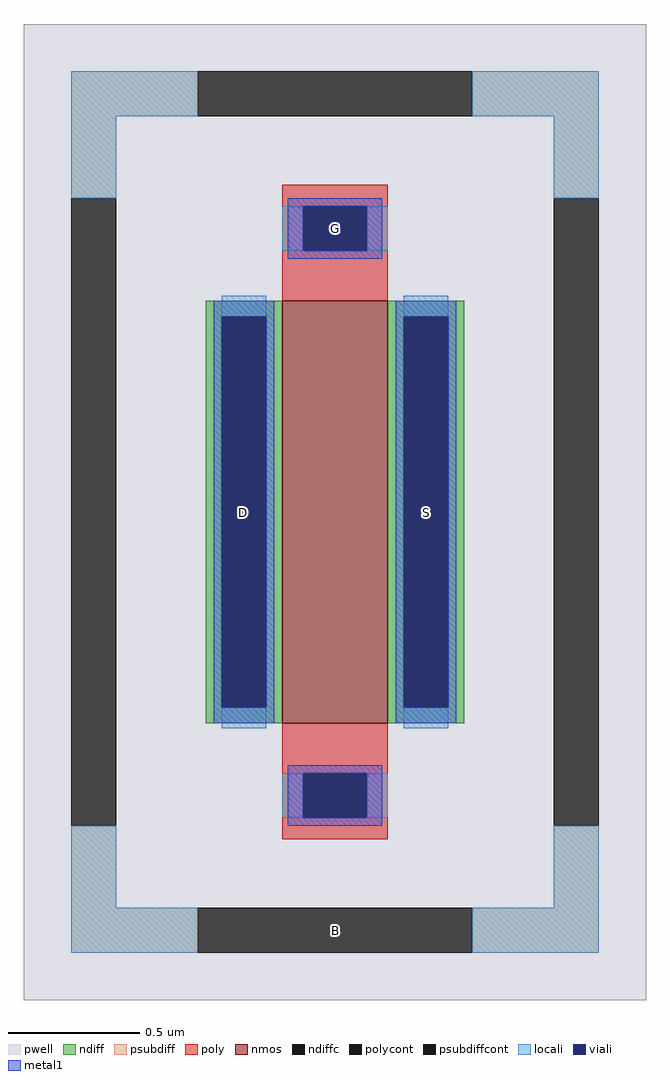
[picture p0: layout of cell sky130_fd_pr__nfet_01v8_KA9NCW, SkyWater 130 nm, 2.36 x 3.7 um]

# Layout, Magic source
magic
tech sky130A
magscale 1 2
<< pwell >>
rect -236 -370 236 370
<< nmos >>
rect -40 -160 40 160
<< ndiff >>
rect -98 148 -40 160
rect -98 -148 -86 148
rect -52 -148 -40 148
rect -98 -160 -40 -148
rect 40 148 98 160
rect 40 -148 52 148
rect 86 -148 98 148
rect 40 -160 98 -148
<< ndiffc >>
rect -86 -148 -52 148
rect 52 -148 86 148
<< psubdiff >>
rect -200 300 -104 334
rect 104 300 200 334
rect -200 238 -166 300
rect 166 238 200 300
rect -200 -300 -166 -238
rect 166 -300 200 -238
rect -200 -334 -104 -300
rect 104 -334 200 -300
<< psubdiffcont >>
rect -104 300 104 334
rect -200 -238 -166 238
rect 166 -238 200 238
rect -104 -334 104 -300
<< poly >>
rect -40 232 40 248
rect -40 198 -24 232
rect 24 198 40 232
rect -40 160 40 198
rect -40 -198 40 -160
rect -40 -232 -24 -198
rect 24 -232 40 -198
rect -40 -248 40 -232
<< polycont >>
rect -24 198 24 232
rect -24 -232 24 -198
<< locali >>
rect -200 300 -104 334
rect 104 300 200 334
rect -200 238 -166 300
rect 166 238 200 300
rect -40 198 -24 232
rect 24 198 40 232
rect -86 148 -52 164
rect -86 -164 -52 -148
rect 52 148 86 164
rect 52 -164 86 -148
rect -40 -232 -24 -198
rect 24 -232 40 -198
rect -200 -300 -166 -238
rect 166 -300 200 -238
rect -200 -334 -104 -300
rect 104 -334 200 -300
<< viali >>
rect -24 198 24 232
rect -86 -148 -52 148
rect 52 -148 86 148
rect -24 -232 24 -198
<< metal1 >>
rect -36 232 36 238
rect -36 198 -24 232
rect 24 198 36 232
rect -36 192 36 198
rect -92 148 -46 160
rect -92 -148 -86 148
rect -52 -148 -46 148
rect -92 -160 -46 -148
rect 46 148 92 160
rect 46 -148 52 148
rect 86 -148 92 148
rect 46 -160 92 -148
rect -36 -198 36 -192
rect -36 -232 -24 -198
rect 24 -232 36 -198
rect -36 -238 36 -232
<< labels >>
rlabel psubdiffcont 0 -317 0 -317 0 B
port 9 nsew
rlabel ndiffc -69 0 -69 0 0 D
port 10 nsew
rlabel ndiffc 69 0 69 0 0 S
port 11 nsew
rlabel polycont 0 215 0 215 0 G
port 12 nsew
<< properties >>
string FIXED_BBOX -183 -317 183 317
string gencell sky130_fd_pr__nfet_01v8
string library sky130
string parameters w 1.6 l 0.4 m 1 nf 1 diffcov 100 polycov 100 guard 1 glc 1 grc 1 gtc 1 gbc 1 tbcov 100 rlcov 100 topc 1 botc 1 poverlap 0 doverlap 1 lmin 0.15 wmin 0.42 class mosfet compatible {sky130_fd_pr__nfet_01v8 sky130_fd_pr__nfet_01v8_lvt  sky130_fd_bs_flash__special_sonosfet_star  sky130_fd_pr__nfet_g5v0d10v5 sky130_fd_pr__nfet_05v0_nvt  sky130_fd_pr__nfet_03v3_nvt} full_metal 1 conn_gates 0 viasrc 100 viadrn 100 viagate 100 viagb 0 viagr 0 viagl 0 viagt 0 doports 1
<< end >>
